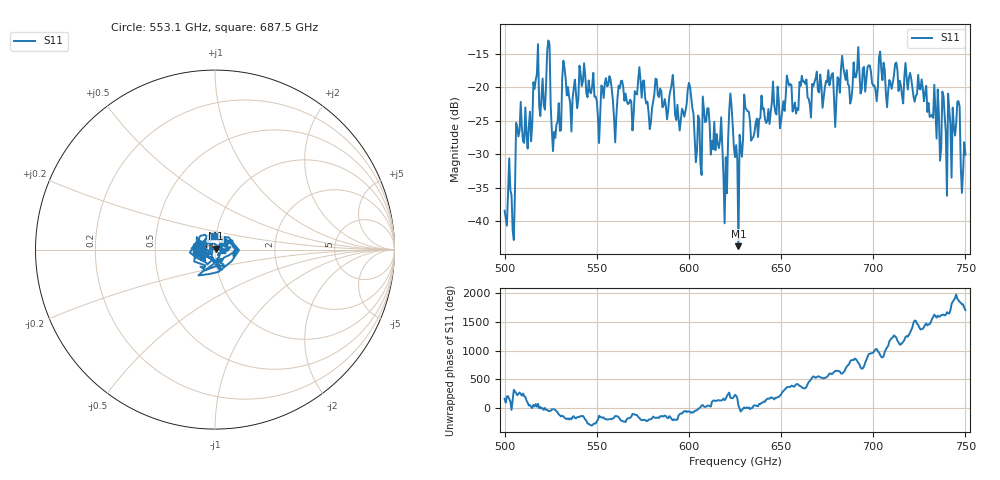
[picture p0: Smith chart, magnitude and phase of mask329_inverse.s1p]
!Created with skrf (http://scikit-rf.org).
# GHz S MA R 50.0
!freq magS11 angS11
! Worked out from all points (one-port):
!   401 points, 500 GHz to 750 GHz, reference 50 ohm
!   lowest |S11| = -43.7 dB at 626.9 GHz (marker M1), VSWR 1.01, Z = 50.5 + j0.44 ohm
!   |S11| at or under -10 dB: start of sweep to end of sweep
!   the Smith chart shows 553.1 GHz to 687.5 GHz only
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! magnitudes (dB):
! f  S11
! 500 GHz  -38.4
! 504.4 GHz  -41.3
! 507.5 GHz  -27.4
! 513.8 GHz  -23.7
! 516.9 GHz  -18.9
! 520.6 GHz  -18.7
! 523.8 GHz  -13.0
! 526.9 GHz  -26.7
! 531.2 GHz  -18.7
! 556.2 GHz  -19.7
! 560 GHz  -28.2
! 562.5 GHz  -20.2
! 593.8 GHz  -22.6
! 600.6 GHz  -20.0
! 605.6 GHz  -24.8
! 608.8 GHz  -25.2
! 619.4 GHz  -40.3
! 622.5 GHz  -20.9
! 625 GHz  -30.4
! 626.9 GHz  -43.7
! 631.2 GHz  -23.4
! 635 GHz  -27.4
! 656.2 GHz  -23.6
! 687.5 GHz  -22.4
! 718.8 GHz  -20.4
! 741.2 GHz  -23.4
! 745.6 GHz  -22.1
! 750 GHz  -30.0
